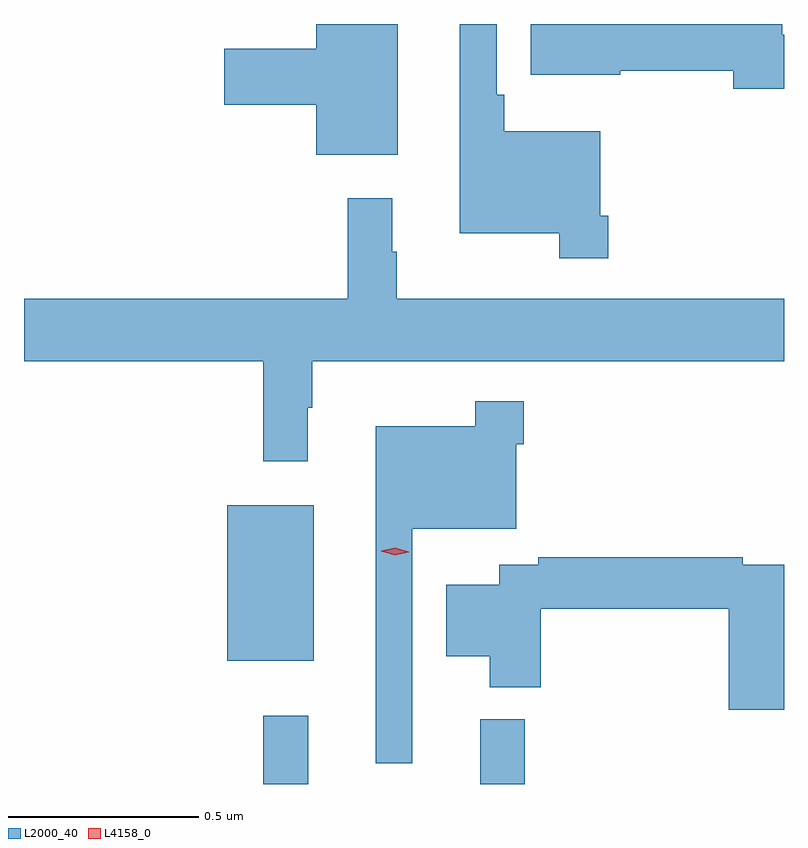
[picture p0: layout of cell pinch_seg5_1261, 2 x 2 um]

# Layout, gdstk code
import gdstk
lib = gdstk.Library(unit=1e-6, precision=1e-09)
def R(c, l, rs):  # rectangles x0, y0, x1, y1
    for r in rs: c.add(gdstk.rectangle(r[:2], r[2:], *l))
def P(c, l, *ps):  # polygons
    for p in ps: c.add(gdstk.Polygon(p, *l))
L2000_40 = (2000, 40)
L4158_0 = (4158, 0)

pinch_seg5_1261 = lib.new_cell('pinch_seg5_1261')
R(pinch_seg5_1261, L2000_40, [(481.123,883.619,481.241,883.798), (481.694,883.619,481.811,883.789), (481.028,883.943,481.255,884.353)])
P(pinch_seg5_1261, L2000_40, [(481.477,885.619),(481.262,885.619),(481.262,885.554),(481.02,885.554),(481.02,885.407),(481.262,885.407),(481.262,885.275),(481.477,885.275)],
  [(482.03,885.115),(482.01,885.115),(482.01,885.337),(481.757,885.337),(481.757,885.433),(481.737,885.433),(481.737,885.619),(481.64,885.619),(481.64,885.068),(481.902,885.068),(481.902,885.003),(482.03,885.003)],
  [(482.493,885.591),(482.488,885.591),(482.488,885.619),(481.826,885.619),(481.826,885.485),(482.062,885.485),(482.062,885.496),(482.36,885.496),(482.36,885.449),(482.493,885.449)],
  [(481.24,884.609),(481.252,884.609),(481.252,884.732),(482.493,884.732),(482.493,884.896),(481.474,884.896),(481.474,885.02),(481.462,885.02),(481.462,885.16),(481.345,885.16),(481.345,884.896),(480.493,884.896),(480.493,884.732),(481.123,884.732),(481.123,884.469),(481.24,884.469)],
  [(481.515,884.291),(481.788,884.291),(481.788,884.513),(481.808,884.513),(481.808,884.626),(481.68,884.626),(481.68,884.56),(481.418,884.56),(481.418,883.674),(481.515,883.674)],
  [(482.493,884.196),(482.384,884.196),(482.384,884.216),(481.846,884.216),(481.846,884.196),(481.743,884.196),(481.743,884.143),(481.604,884.143),(481.604,883.955),(481.718,883.955),(481.718,883.874),(481.853,883.874),(481.853,884.08),(482.348,884.08),(482.348,883.815),(482.493,883.815)])
P(pinch_seg5_1261, L4158_0, [(481.469,884.221),(481.433,884.232),(481.433,884.232),(481.433,884.233),(481.47,884.241),(481.505,884.23),(481.505,884.229),(481.505,884.229)])

lib.write_gds('pinch_seg5_1261.gds')
